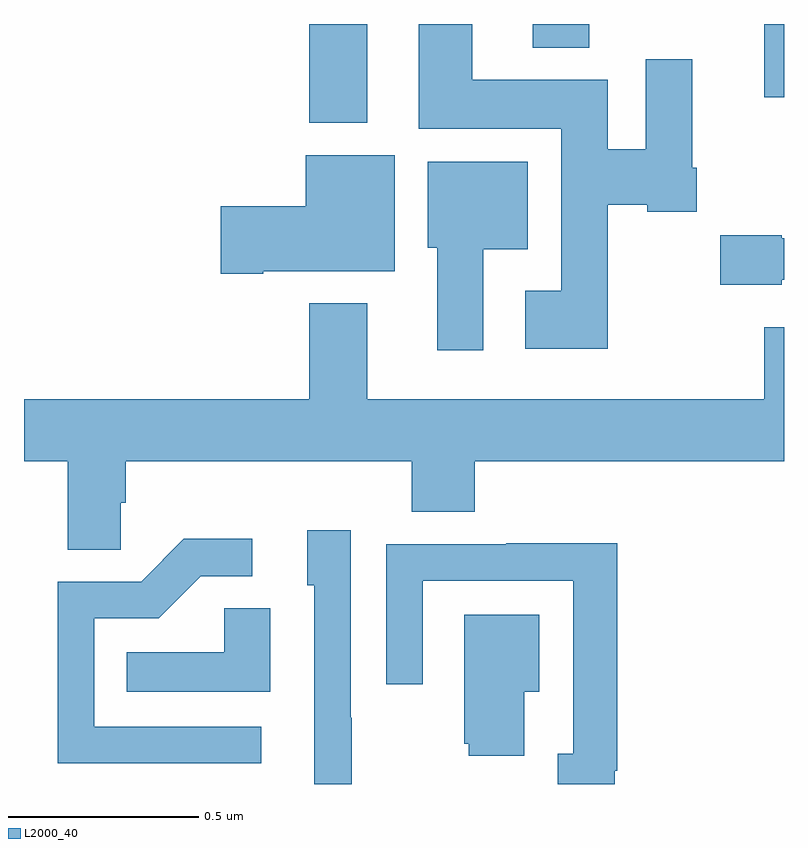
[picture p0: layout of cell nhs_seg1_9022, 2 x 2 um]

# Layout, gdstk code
import gdstk
lib = gdstk.Library(unit=1e-6, precision=1e-09)
def R(c, l, rs):  # rectangles x0, y0, x1, y1
    for r in rs: c.add(gdstk.rectangle(r[:2], r[2:], *l))
def P(c, l, *ps):  # polygons
    for p in ps: c.add(gdstk.Polygon(p, *l))
L2000_40 = (2000, 40)

nhs_seg1_9022 = lib.new_cell('nhs_seg1_9022')
R(nhs_seg1_9022, L2000_40, [(223.751,569.939,223.903,570.199), (224.948,570.006,225,570.199), (224.339,570.137,224.487,570.199)])
P(nhs_seg1_9022, L2000_40, [(224.536,569.723),(224.64,569.723),(224.64,569.705),(224.771,569.705),(224.771,569.821),(224.758,569.821),(224.758,570.106),(224.636,570.106),(224.636,569.87),(224.536,569.87),(224.536,570.052),(224.179,570.052),(224.179,570.199),(224.039,570.199),(224.039,569.924),(224.414,569.924),(224.414,569.497),(224.319,569.497),(224.319,569.345),(224.536,569.345)],
  [(223.63,569.549),(223.975,569.549),(223.975,569.854),(223.742,569.854),(223.742,569.72),(223.518,569.72),(223.518,569.542),(223.63,569.542)],
  [(224.209,569.606),(224.326,569.606),(224.326,569.836),(224.063,569.836),(224.063,569.61),(224.087,569.61),(224.087,569.34),(224.209,569.34)],
  [(224.994,569.526),(225,569.526),(225,569.635),(224.994,569.635),(224.994,569.643),(224.832,569.643),(224.832,569.513),(224.994,569.513)],
  [(223.254,568.939),(223.268,568.939),(223.268,569.048),(224.021,569.048),(224.021,568.915),(224.186,568.915),(224.186,569.048),(225,569.048),(225,569.401),(224.948,569.401),(224.948,569.212),(223.903,569.212),(223.903,569.464),(223.751,569.464),(223.751,569.212),(223,569.212),(223,569.048),(223.115,569.048),(223.115,568.816),(223.254,568.816)],
  [(223.863,568.373),(223.86,568.373),(223.86,568.867),(223.745,568.867),(223.745,568.722),(223.764,568.722),(223.764,568.199),(223.863,568.199)],
  [(223.624,568.35),(223.185,568.35),(223.185,568.635),(223.354,568.635),(223.465,568.746),(223.6,568.746),(223.6,568.844),(223.421,568.844),(223.308,568.731),(223.089,568.731),(223.089,568.254),(223.624,568.254)],
  [(224.554,568.234),(224.561,568.234),(224.561,568.832),(224.269,568.832),(224.269,568.83),(223.953,568.83),(223.953,568.461),(224.049,568.461),(224.049,568.734),(224.445,568.734),(224.445,568.278),(224.405,568.278),(224.405,568.199),(224.554,568.199)],
  [(223.648,568.661),(223.527,568.661),(223.527,568.546),(223.27,568.546),(223.27,568.442),(223.648,568.442)],
  [(224.317,568.442),(224.356,568.442),(224.356,568.645),(224.159,568.645),(224.159,568.305),(224.171,568.305),(224.171,568.274),(224.317,568.274)])

lib.write_gds('nhs_seg1_9022.gds')
